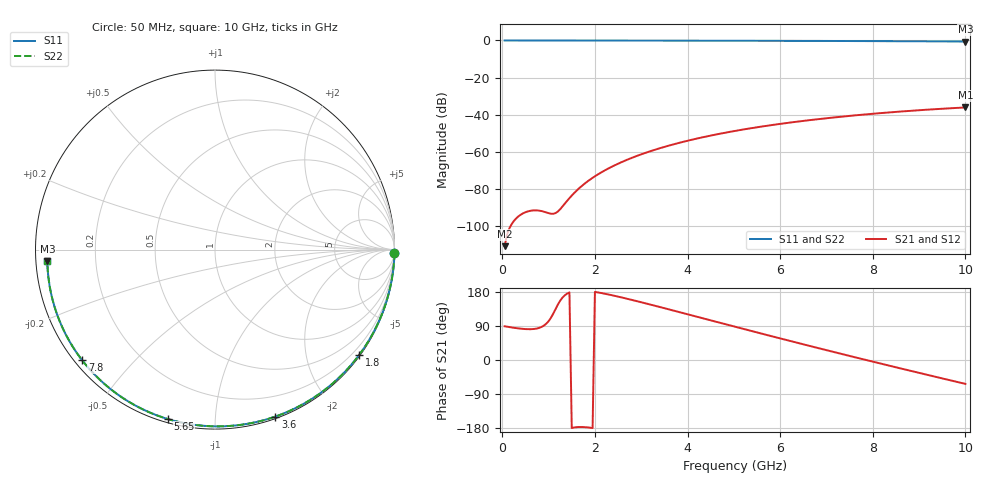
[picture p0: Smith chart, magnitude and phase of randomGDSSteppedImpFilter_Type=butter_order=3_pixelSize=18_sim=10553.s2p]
! freq	dB(S11)	phase(S11)	dB(S12)	phase(S12)
!  dB(S21)	phase(S21)	dB(S22)	phase(S22)
!S-par simulation data
#  GHz  S  DB  R 50
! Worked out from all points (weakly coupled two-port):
!   200 points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, 50 MHz to 10 GHz, reference 50 ohm
!   highest |S21| = -36.08 dB at 10 GHz (marker M1); lowest = -110.8 dB at 50 MHz (marker M2)
!   lowest |S11| = -0.6 dB at 10 GHz (marker M3), VSWR 30.42, Z = 1.65 - j1.71 ohm
!   |S11| at or under -10 dB: nowhere
!   |S22| runs from -0.6 to 0.0 dB; largest |S21 - S12| = 0
!   S11 on the Smith chart (normalised r, x): 50 MHz: open; 1.8 GHz: 0.03, -3.06; 3.6 GHz: 0.02, -1.42; 5.65 GHz: 0.02, -0.76; 7.8 GHz: 0.02, -0.36; 10 GHz: 0.03, -0.03
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0.05  -0.00 -1.0  -110.77 88.9  -110.77 88.9  -0.00 -1.0
0.4  -0.01 -8.2  -93.79 82.6  -93.79 82.6  -0.01 -8.2
0.8  -0.02 -16.3  -91.64 84.9  -91.64 84.9  -0.02 -16.3
1.6  -0.04 -32.2  -80.96 -177.3  -80.96 -177.3  -0.04 -32.3
1.65  -0.04 -33.2  -79.80 -176.8  -79.80 -176.8  -0.04 -33.2
1.75  -0.04 -35.2  -77.66 -176.9  -77.66 -176.9  -0.04 -35.2
1.8  -0.05 -36.2  -76.67 -177.3  -76.67 -177.3  -0.05 -36.2
2.1  -0.05 -42.0  -71.59 177.6  -71.59 177.6  -0.05 -42.0
2.3  -0.06 -45.9  -68.81 172.7  -68.81 172.7  -0.06 -45.9
2.5  -0.06 -49.7  -66.37 167.3  -66.37 167.3  -0.06 -49.7
2.9  -0.07 -57.2  -62.23 155.5  -62.23 155.5  -0.07 -57.3
3.4  -0.09 -66.5  -58.05 139.9  -58.05 139.9  -0.09 -66.5
3.6  -0.09 -70.1  -56.60 133.5  -56.60 133.5  -0.09 -70.2
4.3  -0.12 -82.6  -52.28 111.1  -52.28 111.1  -0.12 -82.6
5.05  -0.15 -95.5  -48.60 87.0  -48.60 87.0  -0.15 -95.6
5.65  -0.18 -105.5  -46.17 68.0  -46.17 68.0  -0.18 -105.6
6.15  -0.20 -113.8  -44.42 52.3  -44.42 52.3  -0.20 -113.8
6.7  -0.24 -122.6  -42.72 35.2  -42.72 35.2  -0.24 -122.7
7.8  -0.33 -140.2  -39.92 1.6  -39.92 1.6  -0.33 -140.3
8.35  -0.38 -149.0  -38.76 -14.8  -38.76 -14.8  -0.38 -149.0
9.2  -0.47 -162.7  -37.23 -39.8  -37.23 -39.8  -0.47 -162.8
10  -0.57 -176.1  -36.08 -63.0  -36.08 -63.0  -0.57 -176.2
